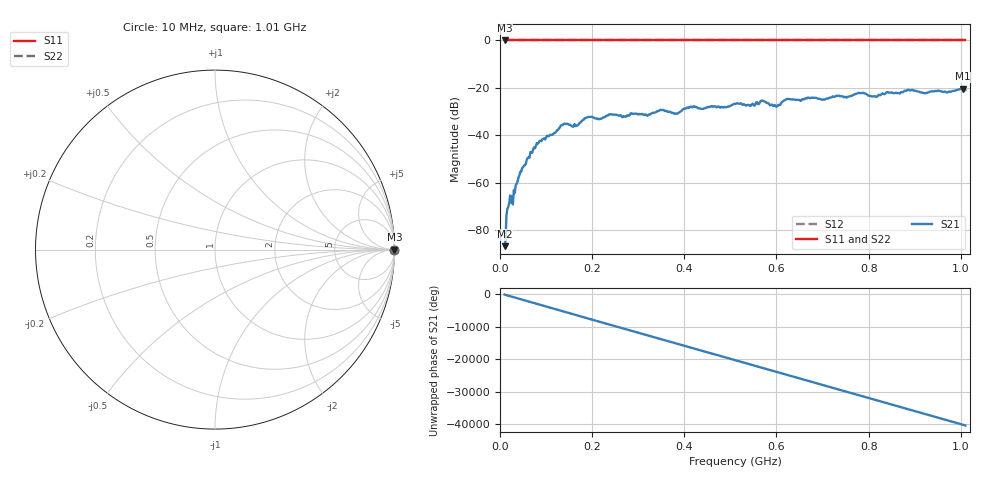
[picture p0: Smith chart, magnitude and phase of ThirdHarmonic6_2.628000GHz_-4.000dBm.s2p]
! 8/17/2025 5:51:24 AM
! C:\ANRITSUVNA\TEMP\TEMP.S2P
! CHANNEL.1
! TR.MEASUREMENT
! RAW.DATA
! RF.CORRECTION.OFF
! AVERAGING.OFF
! IF.BANDWIDTH: 5KHZ
! SWEEPTYPE:  FREQ.SWEEP(Linear)
! Reference Plane Port Info
! PORT:  PORT1  PORT2
! DISTANCE:  0  m  0  m
! TIME:  0  s  0  s
! PHASE.OFFSET:  0  deg.  0  deg.
! LOSS:  0  dB  0  dB
! REF.LOSS:  0  dB  0  dB
! REF.FREQ:  0  Hz  0  Hz
! Power Info
! POWER:  -20  dBm  -20  dBm
! EFF.POWER:  -20  dBm  -20  dBm
! SOURCE.ATTEN:  0  dB  0  dB
! TEST.ATTEN:  0  dB  0  dB
# GHZ S RI R 50.0
! FREQ.GHZ  S11RE  S11IM  S21RE  S21IM  S12RE  S12IM  S22RE  S22IM
!; PortSelection: Port_12
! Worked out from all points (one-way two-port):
!   501 points, 10 MHz to 1.01 GHz, reference 50 ohm
!   highest |S21| = -20.36 dB at 1.004 GHz (marker M1); lowest = -86.8 dB at 10 MHz (marker M2)
!   lowest |S11| = 0.0 dB at 10 MHz (marker M3)
!   |S11| at or under -10 dB: nowhere
!   |S22| runs from 0.0 to 0.0 dB; largest |S21 - S12| = 1.1
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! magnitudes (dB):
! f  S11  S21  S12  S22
! 10 MHz  0.0  -86.8  0.0  0.0
! 18 MHz  0.0  -70.1  0.0  0.0
! 28 MHz  0.0  -69.2  0.0  0.0
! 44 MHz  0.0  -55.4  0.0  0.0
! 76 MHz  0.0  -45.5  0.0  0.0
! 136 MHz  0.0  -35.7  0.0  0.0
! 162 MHz  0.0  -35.3  0.0  0.0
! 178 MHz  0.0  -34.0  0.0  0.0
! 194 MHz  0.0  -32.2  0.0  0.0
! 344 MHz  0.0  -29.8  0.0  0.0
! 382 MHz  0.0  -30.8  0.0  0.0
! 416 MHz  0.0  -28.2  0.0  0.0
! 510 MHz  0.0  -26.7  0.0  0.0
! 570 MHz  0.0  -25.4  0.0  0.0
! 598 MHz  0.0  -27.5  0.0  0.0
! 624 MHz  0.0  -24.7  0.0  0.0
! 678 MHz  0.0  -24.2  0.0  0.0
! 784 MHz  0.0  -22.3  0.0  0.0
! 814 MHz  0.0  -23.6  0.0  0.0
! 844 MHz  0.0  -22.0  0.0  0.0
! 1.004 GHz  0.0  -20.4  0.0  0.0
! 1.01 GHz  0.0  -21.0  0.0  0.0
